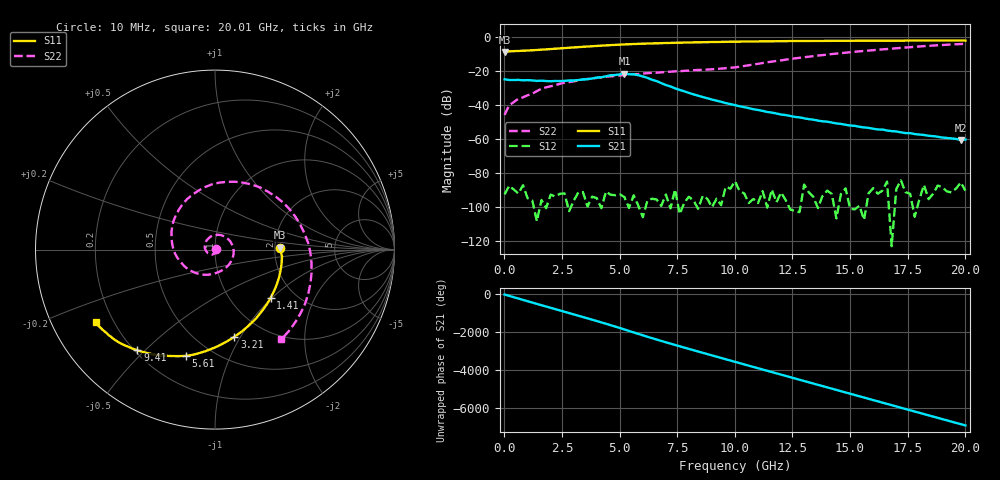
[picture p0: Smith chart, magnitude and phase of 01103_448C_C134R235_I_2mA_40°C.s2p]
!;Filter: kein Filter
!auto
!3/21/2019 9:26:52 AM
!3/21/2019 9:27:07 AM
!SP-Measurements Prober G4
!SP-Measurements Prober G4
!01103_448C
!134
!235
!12
!40
!-20
!0.00199954
!1.75
!0.22129449
!0.22129449
# Hz S  RI  R 50
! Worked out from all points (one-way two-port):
!   101 points, 10 MHz to 20.01 GHz, reference 50 ohm
!   highest |S21| = -21.63 dB at 5.21 GHz (marker M1); lowest = -60.5 dB at 19.81 GHz (marker M2)
!   lowest |S11| = -8.9 dB at 10 MHz (marker M3), VSWR 2.12, Z = 106 + j2.59 ohm
!   |S11| at or under -10 dB: nowhere
!   |S22| runs from -45.8 to -4.1 dB; largest |S21 - S12| = 0.083
!   S11 on the Smith chart (normalised r, x): 10 MHz: 2.12, +0.05; 1.41 GHz: 1.52, -0.98; 3.21 GHz: 0.73, -0.94; 5.61 GHz: 0.37, -0.70; 9.41 GHz: 0.21, -0.47; 20.01 GHz: 0.14, -0.28
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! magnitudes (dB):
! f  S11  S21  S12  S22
! 10 MHz  -8.9  -25.0  -92.4  -45.8
! 210 MHz  -8.5  -25.4  -87.4  -40.2
! 610 MHz  -8.3  -25.3  -91.9  -36.3
! 1.21 GHz  -7.9  -25.6  -95.9  -33.5
! 1.41 GHz  -7.7  -25.9  -108.2  -31.9
! 1.61 GHz  -7.6  -25.7  -95.7  -30.5
! 2.41 GHz  -6.8  -26.0  -92.1  -27.6
! 3.21 GHz  -6.1  -25.4  -91.3  -25.6
! 3.41 GHz  -5.9  -25.0  -91.1  -25.1
! 3.61 GHz  -5.7  -24.9  -99.6  -24.7
! 5.21 GHz  -4.5  -21.6  -94.0  -22.4
! 5.61 GHz  -4.2  -22.0  -93.0  -21.9
! 6.21 GHz  -4.0  -24.1  -96.0  -21.4
! 6.81 GHz  -3.7  -27.2  -99.2  -20.9
! 8.21 GHz  -3.3  -33.8  -96.1  -19.6
! 9.41 GHz  -3.0  -38.1  -98.8  -18.7
! 10.01 GHz  -2.9  -40.1  -84.8  -17.9
! 11.41 GHz  -2.6  -44.1  -100.2  -15.0
! 13.41 GHz  -2.4  -48.6  -93.9  -11.4
! 16.81 GHz  -2.3  -55.3  -122.8  -7.0
! 19.81 GHz  -2.2  -60.5  -85.4  -4.3
! 20.01 GHz  -2.2  -60.3  -90.2  -4.1
